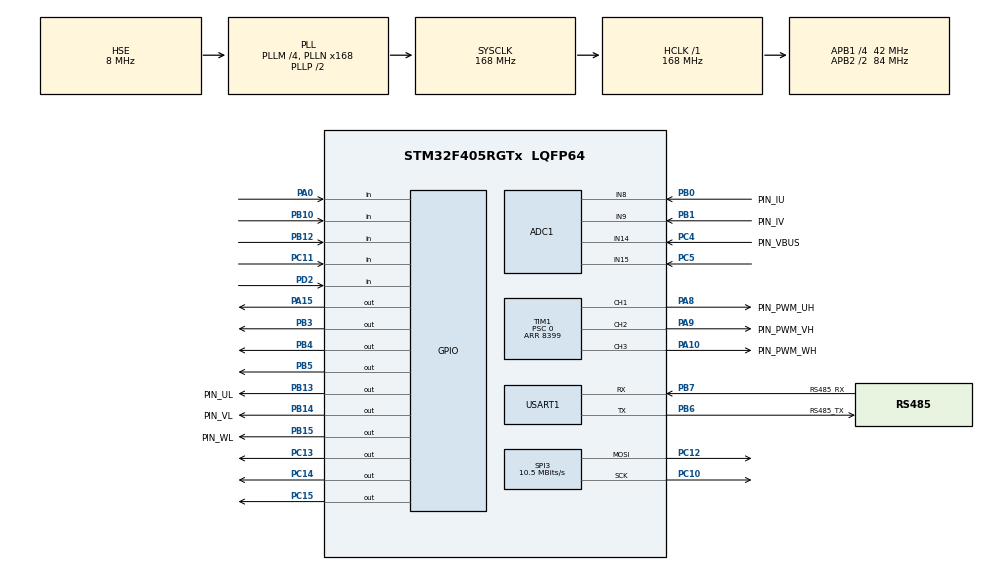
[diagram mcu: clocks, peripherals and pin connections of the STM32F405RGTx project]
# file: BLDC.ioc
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ADC1.Channel-0\#ChannelRegularConversion=ADC_CHANNEL_8
ADC1.Channel-25\#ChannelInjectedConversion=ADC_CHANNEL_8
ADC1.Channel-26\#ChannelInjectedConversion=ADC_CHANNEL_9
ADC1.Channel-27\#ChannelInjectedConversion=ADC_CHANNEL_14
ADC1.Channel-28\#ChannelInjectedConversion=ADC_CHANNEL_15
ADC1.ContinuousConvMode=ENABLE
ADC1.DMAContinuousRequests=DISABLE
ADC1.ExternalTrigInjecConv=ADC_EXTERNALTRIGINJECCONV_T8_CC4
ADC1.ExternalTrigInjecConvEdge=ADC_EXTERNALTRIGINJECCONVEDGE_RISING
ADC1.InjNumberOfConversion=4
ADC1.InjectedOffset-25\#ChannelInjectedConversion=0
ADC1.InjectedOffset-26\#ChannelInjectedConversion=0
ADC1.InjectedOffset-27\#ChannelInjectedConversion=0
ADC1.InjectedOffset-28\#ChannelInjectedConversion=0
ADC1.InjectedRank-25\#ChannelInjectedConversion=1
ADC1.InjectedRank-26\#ChannelInjectedConversion=2
ADC1.InjectedRank-27\#ChannelInjectedConversion=3
ADC1.InjectedRank-28\#ChannelInjectedConversion=4
ADC1.NbrOfConversion=1
ADC1.NbrOfConversionFlag=1
ADC1.Rank-0\#ChannelRegularConversion=1
ADC1.SamplingTime-0\#ChannelRegularConversion=ADC_SAMPLETIME_3CYCLES
ADC1.SamplingTime-25\#ChannelInjectedConversion=ADC_SAMPLETIME_3CYCLES
ADC1.SamplingTime-26\#ChannelInjectedConversion=ADC_SAMPLETIME_3CYCLES
ADC1.SamplingTime-27\#ChannelInjectedConversion=ADC_SAMPLETIME_3CYCLES
ADC1.SamplingTime-28\#ChannelInjectedConversion=ADC_SAMPLETIME_3CYCLES
ADC1.ScanConvMode=ENABLE
ADC1.master=1
Dma.Request0=SPI3_TX
Dma.Request1=USART1_TX
Dma.Request2=USART1_RX
Dma.SPI3_TX.0.Direction=DMA_MEMORY_TO_PERIPH
Dma.SPI3_TX.0.FIFOMode=DMA_FIFOMODE_DISABLE
Dma.SPI3_TX.0.Instance=DMA1_Stream7
Dma.SPI3_TX.0.MemDataAlignment=DMA_MDATAALIGN_BYTE
Dma.SPI3_TX.0.MemInc=DMA_MINC_ENABLE
Dma.SPI3_TX.0.Mode=DMA_NORMAL
Dma.SPI3_TX.0.PeriphDataAlignment=DMA_PDATAALIGN_BYTE
Dma.SPI3_TX.0.PeriphInc=DMA_PINC_DISABLE
Dma.SPI3_TX.0.Priority=DMA_PRIORITY_LOW
Dma.USART1_RX.2.Direction=DMA_PERIPH_TO_MEMORY
Dma.USART1_RX.2.FIFOMode=DMA_FIFOMODE_DISABLE
Dma.USART1_RX.2.Instance=DMA2_Stream2
Dma.USART1_RX.2.MemDataAlignment=DMA_MDATAALIGN_BYTE
Dma.USART1_RX.2.MemInc=DMA_MINC_ENABLE
Dma.USART1_RX.2.Mode=DMA_NORMAL
Dma.USART1_RX.2.PeriphDataAlignment=DMA_PDATAALIGN_BYTE
Dma.USART1_RX.2.PeriphInc=DMA_PINC_DISABLE
Dma.USART1_RX.2.Priority=DMA_PRIORITY_MEDIUM
Dma.USART1_TX.1.Direction=DMA_MEMORY_TO_PERIPH
Dma.USART1_TX.1.FIFOMode=DMA_FIFOMODE_DISABLE
Dma.USART1_TX.1.Instance=DMA2_Stream7
Dma.USART1_TX.1.MemDataAlignment=DMA_MDATAALIGN_BYTE
Dma.USART1_TX.1.MemInc=DMA_MINC_ENABLE
Dma.USART1_TX.1.Mode=DMA_NORMAL
Dma.USART1_TX.1.PeriphDataAlignment=DMA_PDATAALIGN_BYTE
Dma.USART1_TX.1.PeriphInc=DMA_PINC_DISABLE
Dma.USART1_TX.1.Priority=DMA_PRIORITY_MEDIUM
Mcu.Family=STM32F4
Mcu.Name=STM32F405RGTx
Mcu.Package=LQFP64
NVIC.ADC_IRQn=true\:0\:1\:false\:false\:true\:true\:true\:true
NVIC.DMA2_Stream2_IRQn=true\:2\:0\:true\:false\:true\:true\:true\:true
NVIC.DMA2_Stream7_IRQn=true\:2\:0\:true\:false\:true\:true\:true\:true
NVIC.PriorityGroup=NVIC_PRIORITYGROUP_2
NVIC.TIM1_UP_TIM10_IRQn=true\:0\:2\:true\:false\:true\:true\:true\:true
NVIC.TIM5_IRQn=true\:0\:3\:true\:false\:true\:true\:true\:true
NVIC.TIM6_DAC_IRQn=true\:0\:3\:false\:false\:true\:true\:true\:true
NVIC.TIM7_IRQn=true\:3\:2\:true\:false\:true\:true\:true\:true
NVIC.TIM8_UP_TIM13_IRQn=true\:0\:3\:false\:false\:true\:true\:true\:true
NVIC.USART1_IRQn=true\:3\:1\:true\:false\:true\:true\:true\:true
PA0-WKUP.GPIO_PuPd=GPIO_PULLDOWN
PA0-WKUP.Signal=GPIO_Input
PA10.GPIO_Label=PIN_PWM_WH
PA10.GPIO_Speed=GPIO_SPEED_FREQ_VERY_HIGH
PA10.Signal=S_TIM1_CH3
PA13.Mode=Serial_Wire
PA13.Signal=SYS_JTMS-SWDIO
PA14.Mode=Serial_Wire
PA14.Signal=SYS_JTCK-SWCLK
PA15.GPIO_PuPd=GPIO_PULLUP
PA15.GPIO_Speed=GPIO_SPEED_FREQ_LOW
PA15.PinState=GPIO_PIN_SET
PA15.Signal=GPIO_Output
PA8.GPIO_Label=PIN_PWM_UH
PA8.GPIO_Speed=GPIO_SPEED_FREQ_VERY_HIGH
PA8.Signal=S_TIM1_CH1
PA9.GPIO_Label=PIN_PWM_VH
PA9.GPIO_Speed=GPIO_SPEED_FREQ_VERY_HIGH
PA9.Signal=S_TIM1_CH2
PB0.GPIO_Label=PIN_IU
PB0.Signal=ADCx_IN8
PB1.GPIO_Label=PIN_IV
PB1.Signal=ADCx_IN9
PB10.GPIO_PuPd=GPIO_PULLUP
PB10.Signal=GPIO_Input
PB12.GPIO_PuPd=GPIO_PULLUP
PB12.Signal=GPIO_Input
PB13.GPIO_Label=PIN_UL
PB13.GPIO_Speed=GPIO_SPEED_FREQ_VERY_HIGH
PB13.Signal=GPIO_Output
PB14.GPIO_Label=PIN_VL
PB14.GPIO_Speed=GPIO_SPEED_FREQ_VERY_HIGH
PB14.Signal=GPIO_Output
PB15.GPIO_Label=PIN_WL
PB15.GPIO_Speed=GPIO_SPEED_FREQ_VERY_HIGH
PB15.Signal=GPIO_Output
PB3.GPIO_Speed=GPIO_SPEED_FREQ_HIGH
PB3.PinState=GPIO_PIN_SET
PB3.Signal=GPIO_Output
PB4.GPIO_Speed=GPIO_SPEED_FREQ_HIGH
PB4.PinState=GPIO_PIN_SET
PB4.Signal=GPIO_Output
PB5.GPIO_Speed=GPIO_SPEED_FREQ_HIGH
PB5.PinState=GPIO_PIN_SET
PB5.Signal=GPIO_Output
PB6.GPIO_Label=RS485_TX
PB6.Mode=Asynchronous
PB6.Signal=USART1_TX
PB7.GPIO_Label=RS485_RX
PB7.GPIO_PuPd=GPIO_PULLUP
PB7.Mode=Asynchronous
PB7.Signal=USART1_RX
PC10.Mode=TX_Only_Simplex_Unidirect_Master
PC10.Signal=SPI3_SCK
PC11.GPIO_PuPd=GPIO_PULLUP
PC11.Signal=GPIO_Input
PC12.Mode=TX_Only_Simplex_Unidirect_Master
PC12.Signal=SPI3_MOSI
PC13-ANTI_TAMP.GPIO_PuPd=GPIO_PULLUP
PC13-ANTI_TAMP.PinState=GPIO_PIN_SET
PC13-ANTI_TAMP.Signal=GPIO_Output
PC14-OSC32_IN.GPIO_PuPd=GPIO_PULLUP
PC14-OSC32_IN.PinState=GPIO_PIN_SET
PC14-OSC32_IN.Signal=GPIO_Output
PC15-OSC32_OUT.GPIO_PuPd=GPIO_PULLUP
PC15-OSC32_OUT.PinState=GPIO_PIN_SET
PC15-OSC32_OUT.Signal=GPIO_Output
PC4.GPIO_Label=PIN_VBUS
PC4.Signal=ADCx_IN14
PC5.Signal=ADCx_IN15
PD2.GPIO_PuPd=GPIO_PULLUP
PD2.Signal=GPIO_Input
PH0-OSC_IN.Mode=HSE-External-Oscillator
PH0-OSC_IN.Signal=RCC_OSC_IN
PH1-OSC_OUT.Mode=HSE-External-Oscillator
PH1-OSC_OUT.Signal=RCC_OSC_OUT
ProjectManager.HeapSize=0x200
ProjectManager.StackSize=0x400
ProjectManager.TargetToolchain=STM32CubeIDE
RCC.48MHZClocksFreq_Value=84000000
RCC.AHBFreq_Value=168000000
RCC.APB1CLKDivider=RCC_HCLK_DIV4
RCC.APB1Freq_Value=42000000
RCC.APB1TimFreq_Value=84000000
RCC.APB2CLKDivider=RCC_HCLK_DIV2
RCC.APB2Freq_Value=84000000
RCC.APB2TimFreq_Value=168000000
RCC.CortexFreq_Value=168000000
RCC.HCLKFreq_Value=168000000
RCC.HSE_VALUE=8000000
RCC.HSI_VALUE=16000000
RCC.LSE_VALUE=32768
RCC.PLLM=4
RCC.PLLN=168
RCC.PLLSourceVirtual=RCC_PLLSOURCE_HSE
RCC.SYSCLKFreq_VALUE=168000000
RCC.SYSCLKSource=RCC_SYSCLKSOURCE_PLLCLK
RCC.VCOOutputFreq_Value=336000000
SH.ADCx_IN14.0=ADC1_IN14,IN14
SH.ADCx_IN15.0=ADC1_IN15,IN15
SH.ADCx_IN8.0=ADC1_IN8,IN8
SH.ADCx_IN9.0=ADC1_IN9,IN9
SH.S_TIM1_CH1.0=TIM1_CH1,PWM Generation1 CH1
SH.S_TIM1_CH2.0=TIM1_CH2,PWM Generation2 CH2
SH.S_TIM1_CH3.0=TIM1_CH3,PWM Generation3 CH3
SPI3.BaudRatePrescaler=SPI_BAUDRATEPRESCALER_4
SPI3.CLKPolarity=SPI_POLARITY_HIGH
SPI3.CalculateBaudRate=10.5 MBits/s
SPI3.Direction=SPI_DIRECTION_2LINES
SPI3.Mode=SPI_MODE_MASTER
SPI3.VirtualType=VM_MASTER
STMicroelectronics.X-CUBE-ALGOBUILD.1.4.0.LibraryCcDSPOoLibraryJjDSPOoLibrary=true
TIM1.AutoReloadPreload=TIM_AUTORELOAD_PRELOAD_ENABLE
TIM1.AutomaticOutput=TIM_AUTOMATICOUTPUT_ENABLE
TIM1.Channel-PWM\ Generation1\ CH1=TIM_CHANNEL_1
TIM1.Channel-PWM\ Generation2\ CH2=TIM_CHANNEL_2
TIM1.Channel-PWM\ Generation3\ CH3=TIM_CHANNEL_3
TIM1.Channel-PWM\ Generation4\ No\ Output=TIM_CHANNEL_4
TIM1.CounterMode=TIM_COUNTERMODE_CENTERALIGNED1
TIM1.OCMode_PWM-PWM\ Generation1\ CH1=TIM_OCMODE_PWM2
TIM1.OCMode_PWM-PWM\ Generation2\ CH2=TIM_OCMODE_PWM2
TIM1.OCMode_PWM-PWM\ Generation3\ CH3=TIM_OCMODE_PWM2
TIM1.OCMode_PWM-PWM\ Generation4\ No\ Output=TIM_OCMODE_PWM2
TIM1.OCPolarity_4=TIM_OCPOLARITY_HIGH
TIM1.Period=8399
TIM1.Prescaler=0
TIM1.Pulse-PWM\ Generation1\ CH1=8399
TIM1.Pulse-PWM\ Generation2\ CH2=8399
TIM1.Pulse-PWM\ Generation3\ CH3=8399
TIM1.Pulse-PWM\ Generation4\ No\ Output=5000
TIM1.TIM_MasterOutputTrigger=TIM_TRGO_RESET
TIM1.TIM_MasterSlaveMode=TIM_MASTERSLAVEMODE_DISABLE
TIM5.AutoReloadPreload=TIM_AUTORELOAD_PRELOAD_DISABLE
TIM5.Period=8399
TIM5.Prescaler=0
TIM6.AutoReloadPreload=TIM_AUTORELOAD_PRELOAD_ENABLE
TIM6.Period=2499
TIM6.Prescaler=83
TIM7.AutoReloadPreload=TIM_AUTORELOAD_PRELOAD_ENABLE
TIM7.Period=99
TIM7.Prescaler=8399
TIM8.AutoReloadPreload=TIM_AUTORELOAD_PRELOAD_ENABLE
TIM8.Channel-PWM\ Generation4\ No\ Output=TIM_CHANNEL_4
TIM8.OCMode_PWM-PWM\ Generation4\ No\ Output=TIM_OCMODE_PWM1
TIM8.Period=167
TIM8.Prescaler=0
TIM8.Pulse-PWM\ Generation4\ No\ Output=89
TIM8.RepetitionCounter=0
USART1.VirtualMode=VM_ASYNC
VP_STMicroelectronics.X-CUBE-ALGOBUILD_VS_DSPOoLibraryJjLibrary_1.4.0_1.4.0.Mode=DSPOoLibraryJjLibrary
VP_TIM1_VS_ClockSourceINT.Mode=Internal
VP_TIM1_VS_no_output4.Mode=PWM Generation4 No Output
VP_TIM5_VS_ClockSourceINT.Mode=Internal
VP_TIM6_VS_ClockSourceINT.Mode=Enable_Timer
VP_TIM7_VS_ClockSourceINT.Mode=Enable_Timer
VP_TIM8_VS_ClockSourceINT.Mode=Internal
VP_TIM8_VS_no_output4.Mode=PWM Generation4 No Output
board=custom

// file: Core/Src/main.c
/* USER CODE BEGIN Header */
/**
 ******************************************************************************
 * @file           : main.c
 * @brief          : Main program body
 ******************************************************************************
 * @attention
 *
 * Copyright (c) 2022 STMicroelectronics.
 * All rights reserved.
 *
 * This software is licensed under terms that can be found in the LICENSE file
 * in the root directory of this software component.
 * If no LICENSE file comes with this software, it is provided AS-IS.
 *
 ******************************************************************************
 */
/* USER CODE END Header */
#include "main.h"
#include "adc.h"
#include "dma.h"
#include "spi.h"
#include "tim.h"
#include "usart.h"
#include "gpio.h"

/* USER CODE BEGIN Includes */
#include "FOC_Control.h"
#include "arm_math.h"
#include "delay.h"
#include "rs485.h"
#include "stm32f4xx_hal_cortex.h"
#include "stm32f4xx_hal_gpio.h"
#include "sys.h"
#include "stdio.h"
#include "bldc.h"

/* USER CODE END Includes */

/* USER CODE BEGIN PTD */
vu8 key_value_last;
vu8 key_value_now;

bool K0_flag = 0;
bool K1_flag = 0;
bool k2_flag = 0;
bool k3_flag = 0;
bool k4_flag = 0;
bool SMO_flag;
bool SMO_Switch_flag;
bool HFI_Init_Angle_flag = 0;
bool Init_Over = 0;
/* USER CODE END PTD */

void SystemClock_Config(void);
/* USER CODE BEGIN PFP */
void check_key(void);

/* USER CODE END PFP */

/* USER CODE BEGIN 0 */
extern UART_HandleTypeDef huart1;
extern ADC_Sample ADC_Sample_Filt;
extern TIM_HandleTypeDef htim1;
extern TIM_HandleTypeDef htim6;
extern TIM_HandleTypeDef htim7;
extern TIM_HandleTypeDef htim8;
extern ADC_HandleTypeDef hadc1;
extern BLDC_Control bldcControl;
extern BLDC_Status bldcStatus;
extern void (*motorDrv[6])(void);
int32_t tempARR_Tim5=0;
uint8_t tempARR_Flag=0;
/* USER CODE END 0 */

int main(void)
{

  /* MCU Configuration--------------------------------------------------------*/

  /* Reset of all peripherals, Initializes the Flash interface and the Systick. */
  HAL_Init();

  /* Configure the system clock */
  SystemClock_Config();

  /* USER CODE BEGIN SysInit */
	delay_init(168);
  /* USER CODE END SysInit */

  /* Initialize all configured peripherals */
  MX_GPIO_Init();
  MX_DMA_Init();
  MX_USART1_UART_Init();
  MX_ADC1_Init();
  MX_SPI3_Init();
  MX_TIM1_Init();
  MX_TIM5_Init();
  MX_TIM6_Init();
  MX_TIM7_Init();
  MX_TIM8_Init();
  /* USER CODE BEGIN 2 */
//特使分支推送测试
	RS485_Init(&huart1);

	//	Motor_Init();

	HAL_TIM_PWM_Start(&htim1, TIM_CHANNEL_1);
	HAL_TIM_PWM_Start(&htim1, TIM_CHANNEL_2);
	HAL_TIM_PWM_Start(&htim1, TIM_CHANNEL_3);
	HAL_TIM_PWM_Start(&htim1, TIM_CHANNEL_4);

	HAL_TIM_PWM_Start(&htim8, TIM_CHANNEL_4);

	HAL_TIM_Base_Start_IT(&htim1);
	HAL_TIM_Base_Start_IT(&htim6);
	HAL_TIM_Base_Start_IT(&htim8);

	HAL_ADCEx_InjectedStart_IT(&hadc1);

  /* USER CODE END 2 */

  /* Infinite loop */
  /* USER CODE BEGIN WHILE */

	//	SMO_Switch_flag = 0;
	//	Init_Over = 1;
	//	SMO_flag = 1;

	while (1) {

//		if (Motor.M_State == IF_Control) {
//			pi_spd.Kp = 0.007f;
//			pi_spd.Ki = 0.002f; // 0.0001*10 / 0.2   T*SpeedLoopPrescaler/0.2
//		}

//		HAL_Delay(10);

		check_key();

		/****************************
		 * 9V母线电压下，启动频率1500Hz，增大频率至2300Hz时达到运行峰值
		 *启动成功后，增大电压至12V，最大频率可至3300Hz
		 *
		 */
		float ScopeDate[5]={0.0f};
		ScopeDate[0]=ADC_Sample_Filt.VBUS;
		ScopeDate[1]=ADC_Sample_Filt.PhaseU_Curr;
		ScopeDate[2]=ADC_Sample_Filt.PhaseV_Curr;
		ScopeDate[3]=(float)(2000000/(htim6.Instance->ARR+1));
		ScopeDate[4]=bldcControl.duty;

		JustFloat_Send(ScopeDate, 5);
		//		char str[50]={0};
		//		sprintf(str,"%d",bldcStatus.step);
		//		strcat(str,"\n");
		//		RS485_Send((uint8_t *)(str), 2);

    /* USER CODE END WHILE */

	}
}

void SystemClock_Config(void)
{
  RCC_OscInitTypeDef RCC_OscInitStruct = {0};
  RCC_ClkInitTypeDef RCC_ClkInitStruct = {0};

  /** Configure the main internal regulator output voltage
  */
  __HAL_RCC_PWR_CLK_ENABLE();
  __HAL_PWR_VOLTAGESCALING_CONFIG(PWR_REGULATOR_VOLTAGE_SCALE1);

  /** Initializes the RCC Oscillators according to the specified parameters
  * in the RCC_OscInitTypeDef structure.
  */
  RCC_OscInitStruct.OscillatorType = RCC_OSCILLATORTYPE_HSE;
  RCC_OscInitStruct.HSEState = RCC_HSE_ON;
  RCC_OscInitStruct.PLL.PLLState = RCC_PLL_ON;
  RCC_OscInitStruct.PLL.PLLSource = RCC_PLLSOURCE_HSE;
  RCC_OscInitStruct.PLL.PLLM = 4;
  RCC_OscInitStruct.PLL.PLLN = 168;
  RCC_OscInitStruct.PLL.PLLP = RCC_PLLP_DIV2;
  RCC_OscInitStruct.PLL.PLLQ = 4;
  if (HAL_RCC_OscConfig(&RCC_OscInitStruct) != HAL_OK)
  {
    Error_Handler();
  }

  /** Initializes the CPU, AHB and APB buses clocks
  */
  RCC_ClkInitStruct.ClockType = RCC_CLOCKTYPE_HCLK|RCC_CLOCKTYPE_SYSCLK
                              |RCC_CLOCKTYPE_PCLK1|RCC_CLOCKTYPE_PCLK2;
  RCC_ClkInitStruct.SYSCLKSource = RCC_SYSCLKSOURCE_PLLCLK;
  RCC_ClkInitStruct.AHBCLKDivider = RCC_SYSCLK_DIV1;
  RCC_ClkInitStruct.APB1CLKDivider = RCC_HCLK_DIV4;
  RCC_ClkInitStruct.APB2CLKDivider = RCC_HCLK_DIV2;

  if (HAL_RCC_ClockConfig(&RCC_ClkInitStruct, FLASH_LATENCY_5) != HAL_OK)
  {
    Error_Handler();
  }
}

/* USER CODE BEGIN 4 */

void check_key(void) {
	key_value_last = key_value_now;
	key_value_now = KEY_Scan(0);
	if ((key_value_now == 0xff) && (key_value_last != 0xff)) {
		if (key_value_last == 1) {				//key0
			K0_flag = !K0_flag;
			if (K0_flag) {
				BLDC_Run();
				LED1 = 0;
			} else {
				BLDC_Stop();
				LED1 = 1;
			}
		} else if (key_value_last == 2) {		//key1
			K1_flag = !K1_flag;
			bldcControl.duty-=0.05f;
		} else if (key_value_last == 3) {		//key2
			k2_flag = !k2_flag;
			bldcControl.duty+=0.05f;
		} else if (key_value_last == 4) {		//key3
			k3_flag = !k3_flag;
			tempARR_Tim5=-50;
			tempARR_Flag=1;
		} else if (key_value_last == 5) {		//key4
			k4_flag = !k4_flag;
			tempARR_Tim5=50;
			tempARR_Flag=1;
		}
	}
}

/* USER CODE END 4 */

void Error_Handler(void)
{
	__disable_irq();
	while (1) {
	}
}
#ifdef USE_FULL_ASSERT
/**
  * @brief  Reports the name of the source file and the source line number
  *         where the assert_param error has occurred.
  * @param  file: pointer to the source file name
  * @param  line: assert_param error line source number
  * @retval None
  */
void assert_failed(uint8_t *file, uint32_t line)
{
  /* USER CODE BEGIN 6 */
	/* User can add his own implementation to report the file name and line
number, ex: printf("Wrong parameters value: file %s on line %d\r\n", file, line)
	 */
  /* USER CODE END 6 */
}
#endif /* USE_FULL_ASSERT */
